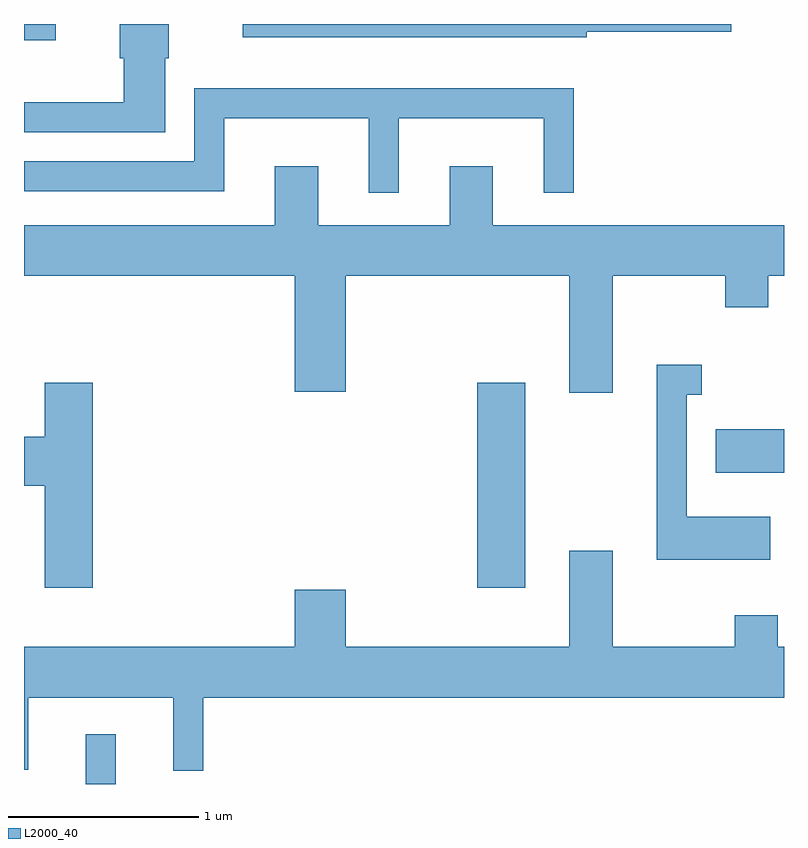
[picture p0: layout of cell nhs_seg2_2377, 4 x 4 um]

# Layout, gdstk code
import gdstk
lib = gdstk.Library(unit=1e-6, precision=1e-09)
def R(c, l, rs):  # rectangles x0, y0, x1, y1
    for r in rs: c.add(gdstk.rectangle(r[:2], r[2:], *l))
def P(c, l, *ps):  # polygons
    for p in ps: c.add(gdstk.Polygon(p, *l))
L2000_40 = (2000, 40)

nhs_seg2_2377 = lib.new_cell('nhs_seg2_2377')
R(nhs_seg2_2377, L2000_40, [(253.936,1107.802,254.094,1108.063), (255.996,1108.836,256.249,1109.914), (257.251,1109.441,257.611,1109.669), (253.611,1111.716,253.779,1111.802)])
P(nhs_seg2_2377, L2000_40, [(254.354,1111.621),(254.374,1111.621),(254.374,1111.802),(254.116,1111.802),(254.116,1111.621),(254.136,1111.621),(254.136,1111.389),(253.611,1111.389),(253.611,1111.231),(254.354,1111.231)],
  [(256.574,1111.761),(257.334,1111.761),(257.334,1111.802),(254.763,1111.802),(254.763,1111.731),(256.574,1111.731)],
  [(255.584,1111.306),(256.346,1111.306),(256.346,1110.913),(256.504,1110.913),(256.504,1111.464),(254.506,1111.464),(254.506,1111.079),(253.611,1111.079),(253.611,1110.921),(254.664,1110.921),(254.664,1111.306),(255.426,1111.306),(255.426,1110.913),(255.584,1110.913)],
  [(256.709,1110.476),(257.301,1110.476),(257.301,1110.311),(257.529,1110.311),(257.529,1110.476),(257.611,1110.476),(257.611,1110.744),(256.079,1110.744),(256.079,1111.054),(255.851,1111.054),(255.851,1110.744),(255.159,1110.744),(255.159,1111.054),(254.931,1111.054),(254.931,1110.744),(253.611,1110.744),(253.611,1110.476),(255.036,1110.476),(255.036,1109.866),(255.304,1109.866),(255.304,1110.476),(256.481,1110.476),(256.481,1109.861),(256.709,1109.861)],
  [(257.539,1109.209),(257.099,1109.209),(257.099,1109.851),(257.178,1109.851),(257.178,1110.009),(256.941,1110.009),(256.941,1108.981),(257.539,1108.981)],
  [(253.974,1109.914),(253.721,1109.914),(253.721,1109.629),(253.611,1109.629),(253.611,1109.371),(253.721,1109.371),(253.721,1108.836),(253.974,1108.836)],
  [(254.554,1108.256),(257.611,1108.256),(257.611,1108.524),(257.579,1108.524),(257.579,1108.689),(257.351,1108.689),(257.351,1108.524),(256.709,1108.524),(256.709,1109.029),(256.481,1109.029),(256.481,1108.524),(255.304,1108.524),(255.304,1108.824),(255.036,1108.824),(255.036,1108.524),(253.611,1108.524),(253.611,1107.878),(253.634,1107.878),(253.634,1108.256),(254.396,1108.256),(254.396,1107.873),(254.554,1107.873)])

lib.write_gds('nhs_seg2_2377.gds')
